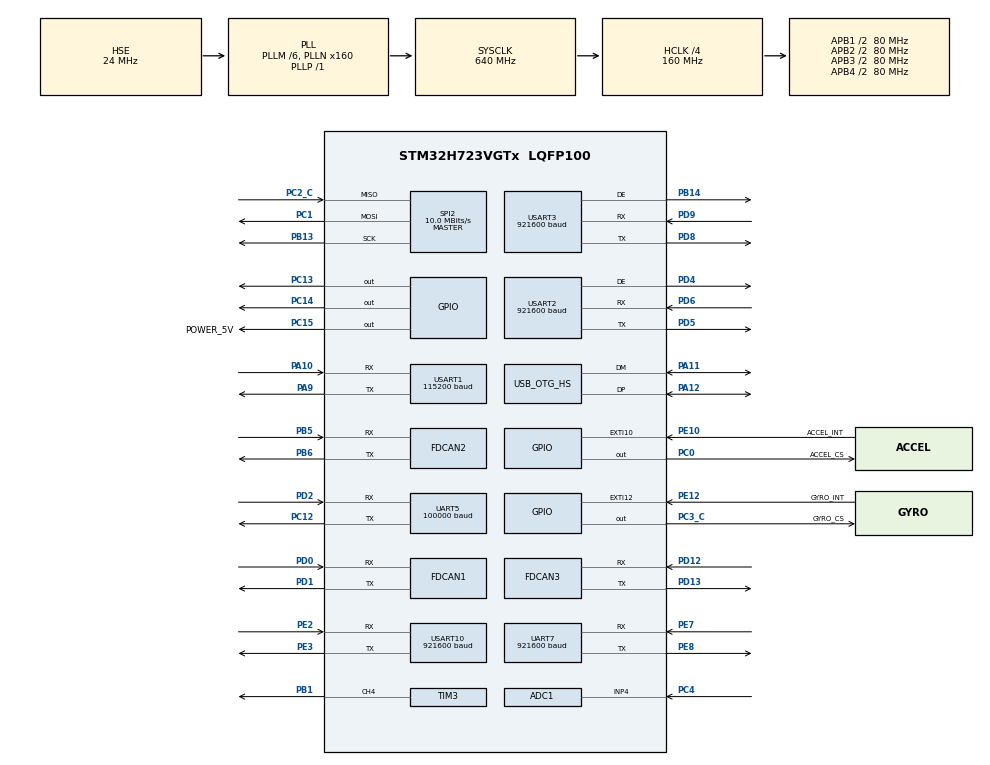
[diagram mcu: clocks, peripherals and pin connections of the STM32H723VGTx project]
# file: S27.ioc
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ADC1.Channel-2\#ChannelRegularConversion=ADC_CHANNEL_4
ADC1.Channel-3\#ChannelRegularConversion=ADC_CHANNEL_4
ADC1.ClockPrescaler=ADC_CLOCK_ASYNC_DIV64
ADC1.ClockPrescalerADC3=ADC_CLOCK_SYNC_PCLK_DIV4
ADC1.ContinuousConvMode=ENABLE
ADC1.ConversionDataManagement=ADC_CONVERSIONDATA_DMA_CIRCULAR
ADC1.NbrOfConversion=2
ADC1.NbrOfConversionFlag=1
ADC1.OffsetNumber-2\#ChannelRegularConversion=ADC_OFFSET_NONE
ADC1.OffsetNumber-3\#ChannelRegularConversion=ADC_OFFSET_NONE
ADC1.OffsetSignedSaturation-2\#ChannelRegularConversion=DISABLE
ADC1.OffsetSignedSaturation-3\#ChannelRegularConversion=DISABLE
ADC1.Rank-2\#ChannelRegularConversion=1
ADC1.Rank-3\#ChannelRegularConversion=2
ADC1.SamplingTime-2\#ChannelRegularConversion=ADC_SAMPLETIME_32CYCLES_5
ADC1.SamplingTime-3\#ChannelRegularConversion=ADC_SAMPLETIME_1CYCLE_5
ADC1.master=1
ADC3.Channel-0\#ChannelRegularConversion=ADC_CHANNEL_TEMPSENSOR
ADC3.ClockPrescalerADC3=ADC_CLOCK_SYNC_PCLK_DIV4
ADC3.DiscontinuousConvMode=ENABLE
ADC3.NbrOfConversionFlag=1
ADC3.OffsetNumber-0\#ChannelRegularConversion=ADC_OFFSET_NONE
ADC3.OffsetSign-0\#ChannelRegularConversion=ADC3_OFFSET_SIGN_NEGATIVE
ADC3.Rank-0\#ChannelRegularConversion=1
ADC3.SamplingTime-0\#ChannelRegularConversion=ADC3_SAMPLETIME_2CYCLES_5
Bdma.ADC3.0.Direction=DMA_PERIPH_TO_MEMORY
Bdma.ADC3.0.EventEnable=DISABLE
Bdma.ADC3.0.Instance=BDMA_Channel0
Bdma.ADC3.0.MemDataAlignment=DMA_MDATAALIGN_HALFWORD
Bdma.ADC3.0.MemInc=DMA_MINC_ENABLE
Bdma.ADC3.0.Mode=DMA_CIRCULAR
Bdma.ADC3.0.PeriphDataAlignment=DMA_PDATAALIGN_HALFWORD
Bdma.ADC3.0.PeriphInc=DMA_PINC_DISABLE
Bdma.ADC3.0.Polarity=HAL_DMAMUX_REQ_GEN_RISING
Bdma.ADC3.0.Priority=DMA_PRIORITY_LOW
Bdma.ADC3.0.RequestNumber=1
Bdma.ADC3.0.SignalID=NONE
Bdma.ADC3.0.SyncEnable=DISABLE
Bdma.ADC3.0.SyncPolarity=HAL_DMAMUX_SYNC_NO_EVENT
Bdma.ADC3.0.SyncRequestNumber=1
Bdma.ADC3.0.SyncSignalID=NONE
Bdma.Request0=ADC3
Bdma.RequestsNb=1
CORTEX_M7.AccessPermission-Cortex_Memory_Protection_Unit_Region0_Settings=MPU_REGION_FULL_ACCESS
CORTEX_M7.AccessPermission_Spec=MPU_REGION_FULL_ACCESS
CORTEX_M7.BaseAddress-Cortex_Memory_Protection_Unit_Region0_Settings=0x24000000
CORTEX_M7.BaseAddress_Spec=0x24000000
CORTEX_M7.CPU_DCache=Enabled
CORTEX_M7.CPU_ICache=Enabled
CORTEX_M7.DisableExec_Spec=MPU_INSTRUCTION_ACCESS_ENABLE
CORTEX_M7.Enable-Cortex_Memory_Protection_Unit_Region0_Settings=MPU_REGION_ENABLE
CORTEX_M7.IsBufferable_Spec=MPU_ACCESS_NOT_BUFFERABLE
CORTEX_M7.IsCacheable_Spec=MPU_ACCESS_NOT_CACHEABLE
CORTEX_M7.IsShareable_Spec=MPU_ACCESS_NOT_SHAREABLE
CORTEX_M7.MPU_Control=MPU_HFNMI_PRIVDEF
CORTEX_M7.Size-Cortex_Memory_Protection_Unit_Region0_Settings=MPU_REGION_SIZE_512KB
CORTEX_M7.Size_Spec=MPU_REGION_SIZE_512KB
CORTEX_M7.SubRegionDisable_Spec=0x0
CORTEX_M7.TypeExtField-Cortex_Memory_Protection_Unit_Region0_Settings=MPU_TEX_LEVEL1
CORTEX_M7.TypeExtField_Spec=MPU_TEX_LEVEL1
CORTEX_M7.default_mode_Activation=1
Dma.ADC1.14.Direction=DMA_PERIPH_TO_MEMORY
Dma.ADC1.14.EventEnable=DISABLE
Dma.ADC1.14.FIFOMode=DMA_FIFOMODE_DISABLE
Dma.ADC1.14.Instance=DMA2_Stream6
Dma.ADC1.14.MemDataAlignment=DMA_MDATAALIGN_HALFWORD
Dma.ADC1.14.MemInc=DMA_MINC_ENABLE
Dma.ADC1.14.Mode=DMA_CIRCULAR
Dma.ADC1.14.PeriphDataAlignment=DMA_PDATAALIGN_HALFWORD
Dma.ADC1.14.PeriphInc=DMA_PINC_DISABLE
Dma.ADC1.14.Polarity=HAL_DMAMUX_REQ_GEN_RISING
Dma.ADC1.14.Priority=DMA_PRIORITY_LOW
Dma.ADC1.14.RequestNumber=1
Dma.ADC1.14.SignalID=NONE
Dma.ADC1.14.SyncEnable=DISABLE
Dma.ADC1.14.SyncPolarity=HAL_DMAMUX_SYNC_NO_EVENT
Dma.ADC1.14.SyncRequestNumber=1
Dma.ADC1.14.SyncSignalID=NONE
Dma.MEMTOMEM.11.Direction=DMA_MEMORY_TO_MEMORY
Dma.MEMTOMEM.11.EventEnable=DISABLE
Dma.MEMTOMEM.11.FIFOMode=DMA_FIFOMODE_ENABLE
Dma.MEMTOMEM.11.FIFOThreshold=DMA_FIFO_THRESHOLD_FULL
Dma.MEMTOMEM.11.Instance=DMA1_Stream0
Dma.MEMTOMEM.11.MemBurst=DMA_MBURST_SINGLE
Dma.MEMTOMEM.11.MemDataAlignment=DMA_MDATAALIGN_BYTE
Dma.MEMTOMEM.11.MemInc=DMA_MINC_ENABLE
Dma.MEMTOMEM.11.Mode=DMA_NORMAL
Dma.MEMTOMEM.11.PeriphBurst=DMA_PBURST_SINGLE
Dma.MEMTOMEM.11.PeriphDataAlignment=DMA_PDATAALIGN_BYTE
Dma.MEMTOMEM.11.PeriphInc=DMA_PINC_ENABLE
Dma.MEMTOMEM.11.Polarity=HAL_DMAMUX_REQ_GEN_RISING
Dma.MEMTOMEM.11.Priority=DMA_PRIORITY_LOW
Dma.MEMTOMEM.11.RequestNumber=1
Dma.MEMTOMEM.11.SignalID=NONE
Dma.MEMTOMEM.11.SyncEnable=DISABLE
Dma.MEMTOMEM.11.SyncPolarity=HAL_DMAMUX_SYNC_NO_EVENT
Dma.MEMTOMEM.11.SyncRequestNumber=1
Dma.MEMTOMEM.11.SyncSignalID=NONE
Dma.Request0=UART5_RX
Dma.Request1=SPI2_RX
Dma.Request10=USART3_TX
Dma.Request11=MEMTOMEM
Dma.Request12=USART10_RX
Dma.Request13=USART10_TX
Dma.Request14=ADC1
Dma.Request2=SPI2_TX
Dma.Request3=UART7_RX
Dma.Request4=UART7_TX
Dma.Request5=USART1_RX
Dma.Request6=USART1_TX
Dma.Request7=USART2_RX
Dma.Request8=USART2_TX
Dma.Request9=USART3_RX
Dma.SPI2_RX.1.Direction=DMA_PERIPH_TO_MEMORY
Dma.SPI2_RX.1.EventEnable=DISABLE
Dma.SPI2_RX.1.FIFOMode=DMA_FIFOMODE_DISABLE
Dma.SPI2_RX.1.Instance=DMA1_Stream1
Dma.SPI2_RX.1.MemDataAlignment=DMA_MDATAALIGN_BYTE
Dma.SPI2_RX.1.MemInc=DMA_MINC_ENABLE
Dma.SPI2_RX.1.Mode=DMA_NORMAL
Dma.SPI2_RX.1.PeriphDataAlignment=DMA_PDATAALIGN_BYTE
Dma.SPI2_RX.1.PeriphInc=DMA_PINC_DISABLE
Dma.SPI2_RX.1.Polarity=HAL_DMAMUX_REQ_GEN_RISING
Dma.SPI2_RX.1.Priority=DMA_PRIORITY_VERY_HIGH
Dma.SPI2_RX.1.RequestNumber=1
Dma.SPI2_RX.1.SignalID=NONE
Dma.SPI2_RX.1.SyncEnable=DISABLE
Dma.SPI2_RX.1.SyncPolarity=HAL_DMAMUX_SYNC_NO_EVENT
Dma.SPI2_RX.1.SyncRequestNumber=1
Dma.SPI2_RX.1.SyncSignalID=NONE
Dma.SPI2_TX.2.Direction=DMA_MEMORY_TO_PERIPH
Dma.SPI2_TX.2.EventEnable=DISABLE
Dma.SPI2_TX.2.FIFOMode=DMA_FIFOMODE_DISABLE
Dma.SPI2_TX.2.Instance=DMA1_Stream2
Dma.SPI2_TX.2.MemDataAlignment=DMA_MDATAALIGN_BYTE
Dma.SPI2_TX.2.MemInc=DMA_MINC_ENABLE
Dma.SPI2_TX.2.Mode=DMA_NORMAL
Dma.SPI2_TX.2.PeriphDataAlignment=DMA_PDATAALIGN_BYTE
Dma.SPI2_TX.2.PeriphInc=DMA_PINC_DISABLE
Dma.SPI2_TX.2.Polarity=HAL_DMAMUX_REQ_GEN_RISING
Dma.SPI2_TX.2.Priority=DMA_PRIORITY_MEDIUM
Dma.SPI2_TX.2.RequestNumber=1
Dma.SPI2_TX.2.SignalID=NONE
Dma.SPI2_TX.2.SyncEnable=DISABLE
Dma.SPI2_TX.2.SyncPolarity=HAL_DMAMUX_SYNC_NO_EVENT
Dma.SPI2_TX.2.SyncRequestNumber=1
Dma.SPI2_TX.2.SyncSignalID=NONE
Dma.UART5_RX.0.Direction=DMA_PERIPH_TO_MEMORY
Dma.UART5_RX.0.EventEnable=DISABLE
Dma.UART5_RX.0.FIFOMode=DMA_FIFOMODE_DISABLE
Dma.UART5_RX.0.Instance=DMA2_Stream3
Dma.UART5_RX.0.MemDataAlignment=DMA_MDATAALIGN_BYTE
Dma.UART5_RX.0.MemInc=DMA_MINC_ENABLE
Dma.UART5_RX.0.Mode=DMA_CIRCULAR
Dma.UART5_RX.0.PeriphDataAlignment=DMA_PDATAALIGN_BYTE
Dma.UART5_RX.0.PeriphInc=DMA_PINC_DISABLE
Dma.UART5_RX.0.Polarity=HAL_DMAMUX_REQ_GEN_RISING
Dma.UART5_RX.0.Priority=DMA_PRIORITY_VERY_HIGH
Dma.UART5_RX.0.RequestNumber=1
Dma.UART5_RX.0.SignalID=NONE
Dma.UART5_RX.0.SyncEnable=DISABLE
Dma.UART5_RX.0.SyncPolarity=HAL_DMAMUX_SYNC_NO_EVENT
Dma.UART5_RX.0.SyncRequestNumber=1
Dma.UART5_RX.0.SyncSignalID=NONE
Dma.UART7_RX.3.Direction=DMA_PERIPH_TO_MEMORY
Dma.UART7_RX.3.EventEnable=DISABLE
Dma.UART7_RX.3.FIFOMode=DMA_FIFOMODE_DISABLE
Dma.UART7_RX.3.Instance=DMA1_Stream3
Dma.UART7_RX.3.MemDataAlignment=DMA_MDATAALIGN_BYTE
Dma.UART7_RX.3.MemInc=DMA_MINC_ENABLE
Dma.UART7_RX.3.Mode=DMA_CIRCULAR
Dma.UART7_RX.3.PeriphDataAlignment=DMA_PDATAALIGN_BYTE
Dma.UART7_RX.3.PeriphInc=DMA_PINC_DISABLE
Dma.UART7_RX.3.Polarity=HAL_DMAMUX_REQ_GEN_RISING
Dma.UART7_RX.3.Priority=DMA_PRIORITY_LOW
Dma.UART7_RX.3.RequestNumber=1
Dma.UART7_RX.3.SignalID=NONE
Dma.UART7_RX.3.SyncEnable=DISABLE
Dma.UART7_RX.3.SyncPolarity=HAL_DMAMUX_SYNC_NO_EVENT
Dma.UART7_RX.3.SyncRequestNumber=1
Dma.UART7_RX.3.SyncSignalID=NONE
Dma.UART7_TX.4.Direction=DMA_MEMORY_TO_PERIPH
Dma.UART7_TX.4.EventEnable=DISABLE
Dma.UART7_TX.4.FIFOMode=DMA_FIFOMODE_DISABLE
Dma.UART7_TX.4.Instance=DMA1_Stream4
Dma.UART7_TX.4.MemDataAlignment=DMA_MDATAALIGN_BYTE
Dma.UART7_TX.4.MemInc=DMA_MINC_ENABLE
Dma.UART7_TX.4.Mode=DMA_NORMAL
Dma.UART7_TX.4.PeriphDataAlignment=DMA_PDATAALIGN_BYTE
Dma.UART7_TX.4.PeriphInc=DMA_PINC_DISABLE
Dma.UART7_TX.4.Polarity=HAL_DMAMUX_REQ_GEN_RISING
Dma.UART7_TX.4.Priority=DMA_PRIORITY_LOW
Dma.UART7_TX.4.RequestNumber=1
Dma.UART7_TX.4.SignalID=NONE
Dma.UART7_TX.4.SyncEnable=DISABLE
Dma.UART7_TX.4.SyncPolarity=HAL_DMAMUX_SYNC_NO_EVENT
Dma.UART7_TX.4.SyncRequestNumber=1
Dma.UART7_TX.4.SyncSignalID=NONE
Dma.USART10_RX.12.Direction=DMA_PERIPH_TO_MEMORY
Dma.USART10_RX.12.EventEnable=DISABLE
Dma.USART10_RX.12.FIFOMode=DMA_FIFOMODE_DISABLE
Dma.USART10_RX.12.Instance=DMA2_Stream4
Dma.USART10_RX.12.MemDataAlignment=DMA_MDATAALIGN_BYTE
Dma.USART10_RX.12.MemInc=DMA_MINC_ENABLE
Dma.USART10_RX.12.Mode=DMA_CIRCULAR
Dma.USART10_RX.12.PeriphDataAlignment=DMA_PDATAALIGN_BYTE
Dma.USART10_RX.12.PeriphInc=DMA_PINC_DISABLE
Dma.USART10_RX.12.Polarity=HAL_DMAMUX_REQ_GEN_RISING
Dma.USART10_RX.12.Priority=DMA_PRIORITY_VERY_HIGH
Dma.USART10_RX.12.RequestNumber=1
Dma.USART10_RX.12.SignalID=NONE
Dma.USART10_RX.12.SyncEnable=DISABLE
Dma.USART10_RX.12.SyncPolarity=HAL_DMAMUX_SYNC_NO_EVENT
Dma.USART10_RX.12.SyncRequestNumber=1
Dma.USART10_RX.12.SyncSignalID=NONE
Dma.USART10_TX.13.Direction=DMA_MEMORY_TO_PERIPH
Dma.USART10_TX.13.EventEnable=DISABLE
Dma.USART10_TX.13.FIFOMode=DMA_FIFOMODE_DISABLE
Dma.USART10_TX.13.Instance=DMA2_Stream5
Dma.USART10_TX.13.MemDataAlignment=DMA_MDATAALIGN_BYTE
Dma.USART10_TX.13.MemInc=DMA_MINC_ENABLE
Dma.USART10_TX.13.Mode=DMA_NORMAL
Dma.USART10_TX.13.PeriphDataAlignment=DMA_PDATAALIGN_BYTE
Dma.USART10_TX.13.PeriphInc=DMA_PINC_DISABLE
Dma.USART10_TX.13.Polarity=HAL_DMAMUX_REQ_GEN_RISING
Dma.USART10_TX.13.Priority=DMA_PRIORITY_VERY_HIGH
Dma.USART10_TX.13.RequestNumber=1
Dma.USART10_TX.13.SignalID=NONE
Dma.USART10_TX.13.SyncEnable=DISABLE
Dma.USART10_TX.13.SyncPolarity=HAL_DMAMUX_SYNC_NO_EVENT
Dma.USART10_TX.13.SyncRequestNumber=1
Dma.USART10_TX.13.SyncSignalID=NONE
Dma.USART1_RX.5.Direction=DMA_PERIPH_TO_MEMORY
Dma.USART1_RX.5.EventEnable=DISABLE
Dma.USART1_RX.5.FIFOMode=DMA_FIFOMODE_DISABLE
Dma.USART1_RX.5.Instance=DMA1_Stream5
Dma.USART1_RX.5.MemDataAlignment=DMA_MDATAALIGN_BYTE
Dma.USART1_RX.5.MemInc=DMA_MINC_ENABLE
Dma.USART1_RX.5.Mode=DMA_NORMAL
Dma.USART1_RX.5.PeriphDataAlignment=DMA_PDATAALIGN_BYTE
Dma.USART1_RX.5.PeriphInc=DMA_PINC_DISABLE
Dma.USART1_RX.5.Polarity=HAL_DMAMUX_REQ_GEN_RISING
Dma.USART1_RX.5.Priority=DMA_PRIORITY_VERY_HIGH
Dma.USART1_RX.5.RequestNumber=1
Dma.USART1_RX.5.SignalID=NONE
Dma.USART1_RX.5.SyncEnable=DISABLE
Dma.USART1_RX.5.SyncPolarity=HAL_DMAMUX_SYNC_NO_EVENT
Dma.USART1_RX.5.SyncRequestNumber=1
Dma.USART1_RX.5.SyncSignalID=NONE
Dma.USART1_TX.6.Direction=DMA_MEMORY_TO_PERIPH
Dma.USART1_TX.6.EventEnable=DISABLE
Dma.USART1_TX.6.FIFOMode=DMA_FIFOMODE_DISABLE
Dma.USART1_TX.6.Instance=DMA1_Stream6
Dma.USART1_TX.6.MemDataAlignment=DMA_MDATAALIGN_BYTE
Dma.USART1_TX.6.MemInc=DMA_MINC_ENABLE
Dma.USART1_TX.6.Mode=DMA_NORMAL
Dma.USART1_TX.6.PeriphDataAlignment=DMA_PDATAALIGN_BYTE
Dma.USART1_TX.6.PeriphInc=DMA_PINC_DISABLE
Dma.USART1_TX.6.Polarity=HAL_DMAMUX_REQ_GEN_RISING
Dma.USART1_TX.6.Priority=DMA_PRIORITY_VERY_HIGH
Dma.USART1_TX.6.RequestNumber=1
Dma.USART1_TX.6.SignalID=NONE
Dma.USART1_TX.6.SyncEnable=DISABLE
Dma.USART1_TX.6.SyncPolarity=HAL_DMAMUX_SYNC_NO_EVENT
Dma.USART1_TX.6.SyncRequestNumber=1
Dma.USART1_TX.6.SyncSignalID=NONE
Dma.USART2_RX.7.Direction=DMA_PERIPH_TO_MEMORY
Dma.USART2_RX.7.EventEnable=DISABLE
Dma.USART2_RX.7.FIFOMode=DMA_FIFOMODE_DISABLE
Dma.USART2_RX.7.Instance=DMA1_Stream7
Dma.USART2_RX.7.MemDataAlignment=DMA_MDATAALIGN_BYTE
Dma.USART2_RX.7.MemInc=DMA_MINC_ENABLE
Dma.USART2_RX.7.Mode=DMA_CIRCULAR
Dma.USART2_RX.7.PeriphDataAlignment=DMA_PDATAALIGN_BYTE
Dma.USART2_RX.7.PeriphInc=DMA_PINC_DISABLE
Dma.USART2_RX.7.Polarity=HAL_DMAMUX_REQ_GEN_RISING
Dma.USART2_RX.7.Priority=DMA_PRIORITY_MEDIUM
Dma.USART2_RX.7.RequestNumber=1
Dma.USART2_RX.7.SignalID=NONE
Dma.USART2_RX.7.SyncEnable=DISABLE
Dma.USART2_RX.7.SyncPolarity=HAL_DMAMUX_SYNC_NO_EVENT
Dma.USART2_RX.7.SyncRequestNumber=1
Dma.USART2_RX.7.SyncSignalID=NONE
Dma.USART2_TX.8.Direction=DMA_MEMORY_TO_PERIPH
Dma.USART2_TX.8.EventEnable=DISABLE
Dma.USART2_TX.8.FIFOMode=DMA_FIFOMODE_DISABLE
Dma.USART2_TX.8.Instance=DMA2_Stream0
Dma.USART2_TX.8.MemDataAlignment=DMA_MDATAALIGN_BYTE
Dma.USART2_TX.8.MemInc=DMA_MINC_ENABLE
Dma.USART2_TX.8.Mode=DMA_NORMAL
Dma.USART2_TX.8.PeriphDataAlignment=DMA_PDATAALIGN_BYTE
Dma.USART2_TX.8.PeriphInc=DMA_PINC_DISABLE
Dma.USART2_TX.8.Polarity=HAL_DMAMUX_REQ_GEN_RISING
Dma.USART2_TX.8.Priority=DMA_PRIORITY_MEDIUM
Dma.USART2_TX.8.RequestNumber=1
Dma.USART2_TX.8.SignalID=NONE
Dma.USART2_TX.8.SyncEnable=DISABLE
Dma.USART2_TX.8.SyncPolarity=HAL_DMAMUX_SYNC_NO_EVENT
Dma.USART2_TX.8.SyncRequestNumber=1
Dma.USART2_TX.8.SyncSignalID=NONE
Dma.USART3_RX.9.Direction=DMA_PERIPH_TO_MEMORY
Dma.USART3_RX.9.EventEnable=DISABLE
Dma.USART3_RX.9.FIFOMode=DMA_FIFOMODE_DISABLE
Dma.USART3_RX.9.Instance=DMA2_Stream1
Dma.USART3_RX.9.MemDataAlignment=DMA_MDATAALIGN_BYTE
Dma.USART3_RX.9.MemInc=DMA_MINC_ENABLE
Dma.USART3_RX.9.Mode=DMA_CIRCULAR
Dma.USART3_RX.9.PeriphDataAlignment=DMA_PDATAALIGN_BYTE
Dma.USART3_RX.9.PeriphInc=DMA_PINC_DISABLE
Dma.USART3_RX.9.Polarity=HAL_DMAMUX_REQ_GEN_RISING
Dma.USART3_RX.9.Priority=DMA_PRIORITY_MEDIUM
Dma.USART3_RX.9.RequestNumber=1
Dma.USART3_RX.9.SignalID=NONE
Dma.USART3_RX.9.SyncEnable=DISABLE
Dma.USART3_RX.9.SyncPolarity=HAL_DMAMUX_SYNC_NO_EVENT
Dma.USART3_RX.9.SyncRequestNumber=1
Dma.USART3_RX.9.SyncSignalID=NONE
Dma.USART3_TX.10.Direction=DMA_MEMORY_TO_PERIPH
Dma.USART3_TX.10.EventEnable=DISABLE
Dma.USART3_TX.10.FIFOMode=DMA_FIFOMODE_DISABLE
Dma.USART3_TX.10.Instance=DMA2_Stream2
Dma.USART3_TX.10.MemDataAlignment=DMA_MDATAALIGN_BYTE
Dma.USART3_TX.10.MemInc=DMA_MINC_ENABLE
Dma.USART3_TX.10.Mode=DMA_NORMAL
Dma.USART3_TX.10.PeriphDataAlignment=DMA_PDATAALIGN_BYTE
Dma.USART3_TX.10.PeriphInc=DMA_PINC_DISABLE
Dma.USART3_TX.10.Polarity=HAL_DMAMUX_REQ_GEN_RISING
Dma.USART3_TX.10.Priority=DMA_PRIORITY_MEDIUM
Dma.USART3_TX.10.RequestNumber=1
Dma.USART3_TX.10.SignalID=NONE
Dma.USART3_TX.10.SyncEnable=DISABLE
Dma.USART3_TX.10.SyncPolarity=HAL_DMAMUX_SYNC_NO_EVENT
Dma.USART3_TX.10.SyncRequestNumber=1
Dma.USART3_TX.10.SyncSignalID=NONE
FDCAN1.AutoRetransmission=DISABLE
FDCAN1.CalculateBaudRateNominal=1000000
FDCAN1.CalculateTimeBitNominal=1000
FDCAN1.CalculateTimeQuantumNominal=50.0
FDCAN1.ClockCalibrationCCU=DISABLE
FDCAN1.DataPrescaler=5
FDCAN1.DataSyncJumpWidth=5
FDCAN1.DataTimeSeg1=14
FDCAN1.DataTimeSeg2=5
FDCAN1.ExtFiltersNbr=0
FDCAN1.FrameFormat=FDCAN_FRAME_CLASSIC
FDCAN1.NominalPrescaler=5
FDCAN1.NominalSyncJumpWidth=5
FDCAN1.NominalTimeSeg1=14
FDCAN1.NominalTimeSeg2=5
FDCAN1.ProtocolException=ENABLE
FDCAN1.RxBufferSize=FDCAN_DATA_BYTES_8
FDCAN1.RxFifo0ElmtSize=FDCAN_DATA_BYTES_8
FDCAN1.RxFifo0ElmtsNbr=8
FDCAN1.RxFifo1ElmtSize=FDCAN_DATA_BYTES_8
FDCAN1.StdFiltersNbr=1
FDCAN1.TransmitPause=DISABLE
FDCAN1.TxElmtSize=FDCAN_DATA_BYTES_8
FDCAN1.TxFifoQueueElmtsNbr=8
FDCAN1.TxFifoQueueMode=FDCAN_TX_FIFO_OPERATION
FDCAN2.CalculateBaudRateNominal=1000000
FDCAN2.CalculateTimeBitNominal=1000
FDCAN2.CalculateTimeQuantumNominal=50.0
FDCAN2.DataPrescaler=1
FDCAN2.DataSyncJumpWidth=5
FDCAN2.DataTimeSeg1=14
FDCAN2.DataTimeSeg2=5
FDCAN2.FrameFormat=FDCAN_FRAME_FD_BRS
FDCAN2.MessageRAMOffset=853
FDCAN2.NominalPrescaler=5
FDCAN2.NominalSyncJumpWidth=5
FDCAN2.NominalTimeSeg1=14
FDCAN2.NominalTimeSeg2=5
FDCAN2.ProtocolException=ENABLE
FDCAN2.RxFifo0ElmtsNbr=0
FDCAN2.RxFifo1ElmtsNbr=8
FDCAN2.StdFiltersNbr=1
FDCAN2.TxFifoQueueElmtsNbr=8
FDCAN3.CalculateBaudRateNominal=1000000
FDCAN3.CalculateTimeBitNominal=1000
FDCAN3.CalculateTimeQuantumNominal=50.0
FDCAN3.DataPrescaler=5
FDCAN3.DataSyncJumpWidth=5
FDCAN3.DataTimeSeg1=14
FDCAN3.DataTimeSeg2=5
FDCAN3.FrameFormat=FDCAN_FRAME_CLASSIC
FDCAN3.MessageRAMOffset=1706
FDCAN3.NominalPrescaler=5
FDCAN3.NominalSyncJumpWidth=5
FDCAN3.NominalTimeSeg1=14
FDCAN3.NominalTimeSeg2=5
FDCAN3.ProtocolException=ENABLE
FDCAN3.RxFifo0ElmtsNbr=8
FDCAN3.StdFiltersNbr=1
FDCAN3.TxFifoQueueElmtsNbr=8
FREERTOS.INCLUDE_vTaskDelayUntil=1
FREERTOS.Tasks01=Start_INS_Task,2,2048,INS_Task,As weak,NULL,Static,Start_INS_TaskBuffer,Start_INS_TaskControlBlock;Start_Control_Task,1,2048,Control_Task,As weak,NULL,Static,Start_Control_TaskBuffer,Start_Control_TaskControlBlock;Start_CAN_Task,0,2048,CAN_Task,As weak,NULL,Static,Start_CAN_TaskBuffer,Start_CAN_TaskControlBlock;Start_Detect_Task,-1,2048,Detect_Task,As weak,NULL,Static,Start_Detect_TaskBuffer,Start_Detect_TaskControlBlock
FREERTOS.configMAX_TASK_NAME_LEN=64
FREERTOS.configMINIMAL_STACK_SIZE=2048
FREERTOS.configQUEUE_REGISTRY_SIZE=8
FREERTOS.configUSE_TRACE_FACILITY=1
Mcu.Family=STM32H7
Mcu.Name=STM32H723VGTx
Mcu.Package=LQFP100
NVIC.BDMA_Channel0_IRQn=true\:5\:0\:false\:false\:true\:true\:false\:true\:true
NVIC.DMA1_Stream0_IRQn=true\:5\:0\:false\:false\:true\:true\:false\:true\:true
NVIC.DMA1_Stream1_IRQn=true\:5\:0\:false\:false\:true\:true\:false\:true\:true
NVIC.DMA1_Stream2_IRQn=true\:5\:0\:false\:false\:true\:true\:false\:true\:true
NVIC.DMA1_Stream3_IRQn=true\:5\:0\:false\:false\:true\:true\:false\:true\:true
NVIC.DMA1_Stream4_IRQn=true\:5\:0\:false\:false\:true\:true\:false\:true\:true
NVIC.DMA1_Stream5_IRQn=true\:5\:0\:false\:false\:true\:true\:false\:true\:true
NVIC.DMA1_Stream6_IRQn=true\:5\:0\:false\:false\:true\:true\:false\:true\:true
NVIC.DMA1_Stream7_IRQn=true\:5\:0\:false\:false\:true\:true\:false\:true\:true
NVIC.DMA2_Stream0_IRQn=true\:5\:0\:false\:false\:true\:true\:false\:true\:true
NVIC.DMA2_Stream1_IRQn=true\:5\:0\:false\:false\:true\:true\:false\:true\:true
NVIC.DMA2_Stream2_IRQn=true\:5\:0\:false\:false\:true\:true\:false\:true\:true
NVIC.DMA2_Stream3_IRQn=true\:5\:0\:false\:false\:true\:true\:false\:true\:true
NVIC.DMA2_Stream4_IRQn=true\:5\:0\:false\:false\:true\:true\:false\:true\:true
NVIC.DMA2_Stream5_IRQn=true\:5\:0\:false\:false\:true\:true\:false\:true\:true
NVIC.DMA2_Stream6_IRQn=true\:5\:0\:false\:false\:true\:true\:false\:true\:true
NVIC.FDCAN1_IT0_IRQn=true\:5\:0\:false\:false\:true\:true\:true\:true\:true
NVIC.FDCAN1_IT1_IRQn=true\:5\:0\:false\:false\:true\:true\:true\:true\:true
NVIC.FDCAN2_IT0_IRQn=true\:5\:0\:false\:false\:true\:true\:true\:true\:true
NVIC.FDCAN2_IT1_IRQn=true\:5\:0\:false\:false\:true\:true\:true\:true\:true
NVIC.FDCAN3_IT0_IRQn=true\:5\:0\:false\:false\:true\:true\:true\:true\:true
NVIC.FDCAN3_IT1_IRQn=true\:5\:0\:false\:false\:true\:true\:true\:true\:true
NVIC.OTG_HS_IRQn=true\:5\:0\:false\:false\:true\:true\:true\:true\:true
NVIC.PriorityGroup=NVIC_PRIORITYGROUP_4
NVIC.SPI2_IRQn=true\:5\:0\:true\:false\:true\:true\:false\:true\:true
NVIC.TIM2_IRQn=true\:15\:0\:false\:false\:true\:false\:false\:true\:true
NVIC.TimeBase=TIM2_IRQn
NVIC.TimeBaseIP=TIM2
NVIC.UART5_IRQn=true\:5\:0\:false\:false\:true\:true\:true\:true\:true
NVIC.UART7_IRQn=true\:5\:0\:false\:false\:true\:true\:true\:true\:true
NVIC.USART10_IRQn=true\:5\:0\:false\:false\:true\:true\:true\:true\:true
NVIC.USART1_IRQn=true\:5\:0\:false\:false\:true\:true\:true\:true\:true
NVIC.USART2_IRQn=true\:5\:0\:false\:false\:true\:true\:true\:true\:true
NVIC.USART3_IRQn=true\:5\:0\:false\:false\:true\:true\:true\:true\:true
PA10.Mode=Asynchronous
PA10.Signal=USART1_RX
PA11.Mode=Device_Only_FS
PA11.Signal=USB_OTG_HS_DM
PA12.Mode=Device_Only_FS
PA12.Signal=USB_OTG_HS_DP
PA13(JTMS/SWDIO).Mode=Serial_Wire
PA13(JTMS/SWDIO).Signal=DEBUG_JTMS-SWDIO
PA14(JTCK/SWCLK).Mode=Serial_Wire
PA14(JTCK/SWCLK).Signal=DEBUG_JTCK-SWCLK
PA9.Mode=Asynchronous
PA9.Signal=USART1_TX
PB1.Signal=S_TIM3_CH4
PB13.GPIO_Speed=GPIO_SPEED_FREQ_VERY_HIGH
PB13.Mode=Full_Duplex_Master
PB13.Signal=SPI2_SCK
PB14.Mode=Hardware Flow Control (RS485)
PB14.Signal=USART3_DE
PB5.Mode=FDCAN_Activate
PB5.Signal=FDCAN2_RX
PB6.GPIO_FM6=__NULL
PB6.Mode=FDCAN_Activate
PB6.Signal=FDCAN2_TX
PC0.GPIO_Label=ACCEL_CS
PC0.GPIO_PuPd=GPIO_NOPULL
PC0.GPIO_Speed=GPIO_SPEED_FREQ_MEDIUM
PC0.PinState=GPIO_PIN_SET
PC0.Signal=GPIO_Output
PC1.GPIO_Speed=GPIO_SPEED_FREQ_VERY_HIGH
PC1.Mode=Full_Duplex_Master
PC1.Signal=SPI2_MOSI
PC12.Mode=Asynchronous
PC12.Signal=UART5_TX
PC13.PinState=GPIO_PIN_RESET
PC13.Signal=GPIO_Output
PC14-OSC32_IN.Signal=GPIO_Output
PC15-OSC32_OUT.GPIO_Label=POWER_5V
PC15-OSC32_OUT.PinState=GPIO_PIN_SET
PC15-OSC32_OUT.Signal=GPIO_Output
PC2_C.GPIO_Speed=GPIO_SPEED_FREQ_VERY_HIGH
PC2_C.Mode=Full_Duplex_Master
PC2_C.Signal=SPI2_MISO
PC3_C.GPIO_Label=GYRO_CS
PC3_C.GPIO_PuPd=GPIO_NOPULL
PC3_C.GPIO_Speed=GPIO_SPEED_FREQ_MEDIUM
PC3_C.PinState=GPIO_PIN_SET
PC3_C.Signal=GPIO_Output
PC4.Signal=ADCx_INP4
PD0.Mode=FDCAN_Activate
PD0.Signal=FDCAN1_RX
PD1.Mode=FDCAN_Activate
PD1.Signal=FDCAN1_TX
PD12.Mode=FDCAN_Activate
PD12.Signal=FDCAN3_RX
PD13.Mode=FDCAN_Activate
PD13.Signal=FDCAN3_TX
PD2.GPIO_Speed=GPIO_SPEED_FREQ_VERY_HIGH
PD2.Mode=Asynchronous
PD2.Signal=UART5_RX
PD4.Mode=Hardware Flow Control (RS485)
PD4.Signal=USART2_DE
PD5.Mode=Asynchronous
PD5.Signal=USART2_TX
PD6.Mode=Asynchronous
PD6.Signal=USART2_RX
PD8.Mode=Asynchronous
PD8.Signal=USART3_TX
PD9.Mode=Asynchronous
PD9.Signal=USART3_RX
PE10.GPIO_Label=ACCEL_INT
PE10.GPIO_PuPd=GPIO_NOPULL
PE10.Signal=GPXTI10
PE12.GPIO_Label=GYRO_INT
PE12.GPIO_PuPd=GPIO_NOPULL
PE12.Signal=GPXTI12
PE2.Mode=Asynchronous
PE2.Signal=USART10_RX
PE3.Mode=Asynchronous
PE3.Signal=USART10_TX
PE7.Mode=Asynchronous
PE7.Signal=UART7_RX
PE8.Mode=Asynchronous
PE8.Signal=UART7_TX
PH0-OSC_IN.Mode=HSE-External-Oscillator
PH0-OSC_IN.Signal=RCC_OSC_IN
PH1-OSC_OUT.Mode=HSE-External-Oscillator
PH1-OSC_OUT.Signal=RCC_OSC_OUT
ProjectManager.HeapSize=0x2000
ProjectManager.StackSize=0x4000
ProjectManager.TargetToolchain=MDK-ARM V5.32
RCC.ADCCLockSelection=RCC_ADCCLKSOURCE_CLKP
RCC.ADCFreq_Value=64000000
RCC.APB1Freq_Value=80000000
RCC.APB2Freq_Value=80000000
RCC.APB3Freq_Value=80000000
RCC.APB4Freq_Value=80000000
RCC.CortexFreq_Value=640000000
RCC.D1PPRE=RCC_APB3_DIV2
RCC.D2PPRE1=RCC_APB1_DIV2
RCC.D2PPRE2=RCC_APB2_DIV2
RCC.D3PPRE=RCC_APB4_DIV2
RCC.DIVM1=6
RCC.DIVM2=24
RCC.DIVM3=24
RCC.DIVN1=160
RCC.DIVN2=200
RCC.DIVN3=160
RCC.DIVP1=1
RCC.DIVQ1=4
RCC.EnbaleCSS=false
RCC.FDCANCLockSelection=RCC_FDCANCLKSOURCE_PLL2
RCC.FLatency-AdvancedSettings=FLASH_LATENCY_2
RCC.HCLKFreq_Value=160000000
RCC.HPRE=RCC_HCLK_DIV4
RCC.HSE_VALUE=24000000
RCC.PLL1_VCI_Range-AdvancedSettings=RCC_PLL1VCIRANGE_0
RCC.PLL1_VCO_SEL-AdvancedSettings=RCC_PLL1VCOMEDIUM
RCC.PLL2FRACN=0
RCC.PLL2_VCO_SEL-AdvancedSettings=RCC_PLL2VCOWIDE
RCC.PLL3FRACN=0
RCC.PLL3_VCO_SEL-AdvancedSettings=RCC_PLL3VCOWIDE
RCC.PLLFRACN=0
RCC.PLLSourceVirtual=RCC_PLLSOURCE_HSE
RCC.SPI123CLockSelection=RCC_SPI123CLKSOURCE_PLL3
RCC.SYSCLKFreq_VALUE=640000000
RCC.SYSCLKSource=RCC_SYSCLKSOURCE_PLLCLK
RCC.USART16CLockSelection=RCC_USART16910CLKSOURCE_PLL2
RCC.USBCLockSelection=RCC_USBCLKSOURCE_HSI48
RCC.USBFreq_Value=48000000
SH.ADCx_INP4.0=ADC1_INP4,IN4-Single-Ended
SH.S_TIM3_CH4.0=TIM3_CH4,PWM Generation4 CH4
SPI2.BaudRatePrescaler=SPI_BAUDRATEPRESCALER_8
SPI2.CLKPhase=SPI_PHASE_2EDGE
SPI2.CLKPolarity=SPI_POLARITY_HIGH
SPI2.CalculateBaudRate=10.0 MBits/s
SPI2.DataSize=SPI_DATASIZE_8BIT
SPI2.Direction=SPI_DIRECTION_2LINES
SPI2.Mode=SPI_MODE_MASTER
SPI2.NSSPMode=SPI_NSS_PULSE_DISABLE
SPI2.VirtualType=VM_MASTER
STMicroelectronics.X-CUBE-ALGOBUILD.1.4.0.LibraryCcDSPOoLibraryJjDSPOoLibrary=true
TIM3.AutoReloadPreload=TIM_AUTORELOAD_PRELOAD_ENABLE
TIM3.Channel-PWM\ Generation4\ CH4=TIM_CHANNEL_4
TIM3.Period=20000
TIM3.Prescaler=80-1
UART5.BaudRate=100000
UART5.Parity=PARITY_EVEN
UART5.StopBits=UART_STOPBITS_2
UART5.WordLength=WORDLENGTH_9B
UART7.BaudRate=921600
USART1.BaudRate=115200
USART1.VirtualMode-Asynchronous=VM_ASYNC
USART10.BaudRate=921600
USART10.VirtualMode=VM_ASYNC
USART2.BaudRate=921600
USART2.OverSampling=UART_OVERSAMPLING_8
USART2.VirtualMode-Asynchronous=VM_ASYNC
USART2.VirtualMode-Hardware\ Flow\ Control\ (RS485)=VM_ASYNC
USART3.BaudRate=921600
USART3.OverSampling=UART_OVERSAMPLING_8
USART3.VirtualMode-Asynchronous=VM_ASYNC
USART3.VirtualMode-Hardware\ Flow\ Control\ (RS485)=VM_ASYNC
USB_DEVICE.CLASS_NAME_HS=CDC
USB_DEVICE.VirtualMode=Cdc
USB_DEVICE.VirtualModeHS=Cdc_HS
USB_OTG_HS.VirtualMode-Device_Only_FS=Device_Only_FS
VP_ADC3_TempSens_Input.Mode=IN-TempSens
VP_ADC3_Vbat_Input.Mode=IN-Vbat
VP_ADC3_Vref_Input.Mode=IN-Vrefint
VP_FREERTOS_VS_CMSIS_V1.Mode=CMSIS_V1
VP_MEMORYMAP_VS_MEMORYMAP.Mode=CurAppReg
VP_STMicroelectronics.X-CUBE-ALGOBUILD_VS_DSPOoLibraryJjLibrary_1.4.0_1.4.0.Mode=DSPOoLibraryJjLibrary
VP_SYS_VS_tim2.Mode=TIM2
VP_USB_DEVICE_VS_USB_DEVICE_CDC_HS.Mode=CDC_HS
board=custom

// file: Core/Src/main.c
/* USER CODE BEGIN Header */
/**
  ******************************************************************************
  * @file           : main.c
  * @brief          : Main program body
  ******************************************************************************
  * @attention
  *
  * Copyright (c) 2024 STMicroelectronics.
  * All rights reserved.
  *
  * This software is licensed under terms that can be found in the LICENSE file
  * in the root directory of this software component.
  * If no LICENSE file comes with this software, it is provided AS-IS.
  *
  ******************************************************************************
  */
/* USER CODE END Header */
#include "main.h"
#include "cmsis_os.h"
#include "adc.h"
#include "bdma.h"
#include "dma.h"
#include "fdcan.h"
#include "memorymap.h"
#include "spi.h"
#include "tim.h"
#include "usart.h"
#include "usb_device.h"
#include "gpio.h"

/* USER CODE BEGIN Includes */
#include "bsp_mcu.h"

#include "SEGGER_SYSVIEW.h"
#include "multi_turn_store.h"
/* USER CODE END Includes */

void SystemClock_Config(void);
void PeriphCommonClock_Config(void);
static void MPU_Config(void);
void MX_FREERTOS_Init(void);

int main(void)
{

  /* USER CODE BEGIN 1 */
  /* MPU Region 1: power-loss log 0x080C0000, 256 KiB, not cacheable. Set
     before MPU_Config() enables the MPU and before the D-Cache is on;
     kept in a USER CODE block so CubeMX regeneration does not drop it. */
  MT_Store_MPU_Config();
  /* USER CODE END 1 */

  /* MPU Configuration--------------------------------------------------------*/
  MPU_Config();

  /* Enable the CPU Cache */

  /* Enable I-Cache---------------------------------------------------------*/
  SCB_EnableICache();

  /* Enable D-Cache---------------------------------------------------------*/
  SCB_EnableDCache();

  /* MCU Configuration--------------------------------------------------------*/

  /* Reset of all peripherals, Initializes the Flash interface and the Systick. */
  HAL_Init();

  /* Configure the system clock */
  SystemClock_Config();

  /* Configure the peripherals common clocks */
  PeriphCommonClock_Config();

  /* Initialize all configured peripherals */
  MX_GPIO_Init();
  MX_DMA_Init();
  MX_BDMA_Init();
  MX_FDCAN1_Init();
  MX_FDCAN2_Init();
  MX_UART5_Init();
  MX_SPI2_Init();
  MX_TIM3_Init();
  MX_UART7_Init();
  MX_USART1_UART_Init();
  MX_USART2_UART_Init();
  MX_USART3_UART_Init();
  MX_USART10_UART_Init();
  MX_FDCAN3_Init();
  MX_ADC3_Init();
  MX_ADC1_Init();
  /* USER CODE BEGIN 2 */
  MCU_Init();

	SEGGER_SYSVIEW_Conf();

  /* USER CODE END 2 */

  /* Call init function for freertos objects (in cmsis_os2.c) */
  MX_FREERTOS_Init();

  /* Start scheduler */
  osKernelStart();

  /* We should never get here as control is now taken by the scheduler */

  /* Infinite loop */
  while (1)
  {

  }
}

void SystemClock_Config(void)
{
  RCC_OscInitTypeDef RCC_OscInitStruct = {0};
  RCC_ClkInitTypeDef RCC_ClkInitStruct = {0};

  /** Supply configuration update enable
  */
  HAL_PWREx_ConfigSupply(PWR_LDO_SUPPLY);

  /** Configure the main internal regulator output voltage
  */
  __HAL_PWR_VOLTAGESCALING_CONFIG(PWR_REGULATOR_VOLTAGE_SCALE1);

  while(!__HAL_PWR_GET_FLAG(PWR_FLAG_VOSRDY)) {}

  /** Initializes the RCC Oscillators according to the specified parameters
  * in the RCC_OscInitTypeDef structure.
  */
  RCC_OscInitStruct.OscillatorType = RCC_OSCILLATORTYPE_HSI48|RCC_OSCILLATORTYPE_HSI
                              |RCC_OSCILLATORTYPE_HSE;
  RCC_OscInitStruct.HSEState = RCC_HSE_ON;
  RCC_OscInitStruct.HSIState = RCC_HSI_DIV1;
  RCC_OscInitStruct.HSICalibrationValue = 64;
  RCC_OscInitStruct.HSI48State = RCC_HSI48_ON;
  RCC_OscInitStruct.PLL.PLLState = RCC_PLL_ON;
  RCC_OscInitStruct.PLL.PLLSource = RCC_PLLSOURCE_HSE;
  RCC_OscInitStruct.PLL.PLLM = 6;
  RCC_OscInitStruct.PLL.PLLN = 160;
  RCC_OscInitStruct.PLL.PLLP = 1;
  RCC_OscInitStruct.PLL.PLLQ = 4;
  RCC_OscInitStruct.PLL.PLLR = 2;
  RCC_OscInitStruct.PLL.PLLRGE = RCC_PLL1VCIRANGE_2;
  RCC_OscInitStruct.PLL.PLLVCOSEL = RCC_PLL1VCOWIDE;
  RCC_OscInitStruct.PLL.PLLFRACN = 0;
  if (HAL_RCC_OscConfig(&RCC_OscInitStruct) != HAL_OK)
  {
    Error_Handler();
  }

  /** Initializes the CPU, AHB and APB buses clocks
  */
  RCC_ClkInitStruct.ClockType = RCC_CLOCKTYPE_HCLK|RCC_CLOCKTYPE_SYSCLK
                              |RCC_CLOCKTYPE_PCLK1|RCC_CLOCKTYPE_PCLK2
                              |RCC_CLOCKTYPE_D3PCLK1|RCC_CLOCKTYPE_D1PCLK1;
  RCC_ClkInitStruct.SYSCLKSource = RCC_SYSCLKSOURCE_PLLCLK;
  RCC_ClkInitStruct.SYSCLKDivider = RCC_SYSCLK_DIV1;
  RCC_ClkInitStruct.AHBCLKDivider = RCC_HCLK_DIV4;
  RCC_ClkInitStruct.APB3CLKDivider = RCC_APB3_DIV2;
  RCC_ClkInitStruct.APB1CLKDivider = RCC_APB1_DIV2;
  RCC_ClkInitStruct.APB2CLKDivider = RCC_APB2_DIV2;
  RCC_ClkInitStruct.APB4CLKDivider = RCC_APB4_DIV2;

  if (HAL_RCC_ClockConfig(&RCC_ClkInitStruct, FLASH_LATENCY_2) != HAL_OK)
  {
    Error_Handler();
  }
}

void PeriphCommonClock_Config(void)
{
  RCC_PeriphCLKInitTypeDef PeriphClkInitStruct = {0};

  /** Initializes the peripherals clock
  */
  PeriphClkInitStruct.PeriphClockSelection = RCC_PERIPHCLK_FDCAN|RCC_PERIPHCLK_USART1
                              |RCC_PERIPHCLK_USART10|RCC_PERIPHCLK_CKPER;
  PeriphClkInitStruct.PLL2.PLL2M = 24;
  PeriphClkInitStruct.PLL2.PLL2N = 200;
  PeriphClkInitStruct.PLL2.PLL2P = 2;
  PeriphClkInitStruct.PLL2.PLL2Q = 2;
  PeriphClkInitStruct.PLL2.PLL2R = 2;
  PeriphClkInitStruct.PLL2.PLL2RGE = RCC_PLL2VCIRANGE_0;
  PeriphClkInitStruct.PLL2.PLL2VCOSEL = RCC_PLL2VCOMEDIUM;
  PeriphClkInitStruct.PLL2.PLL2FRACN = 0;
  PeriphClkInitStruct.CkperClockSelection = RCC_CLKPSOURCE_HSI;
  PeriphClkInitStruct.FdcanClockSelection = RCC_FDCANCLKSOURCE_PLL2;
  PeriphClkInitStruct.Usart16ClockSelection = RCC_USART16910CLKSOURCE_PLL2;
  if (HAL_RCCEx_PeriphCLKConfig(&PeriphClkInitStruct) != HAL_OK)
  {
    Error_Handler();
  }
}

 /* MPU Configuration */

void MPU_Config(void)
{
  MPU_Region_InitTypeDef MPU_InitStruct = {0};

  /* Disables the MPU */
  HAL_MPU_Disable();

  /** Initializes and configures the Region and the memory to be protected
  */
  MPU_InitStruct.Enable = MPU_REGION_ENABLE;
  MPU_InitStruct.Number = MPU_REGION_NUMBER0;
  MPU_InitStruct.BaseAddress = 0x24000000;
  MPU_InitStruct.Size = MPU_REGION_SIZE_512KB;
  MPU_InitStruct.SubRegionDisable = 0x0;
  MPU_InitStruct.TypeExtField = MPU_TEX_LEVEL1;
  MPU_InitStruct.AccessPermission = MPU_REGION_FULL_ACCESS;
  MPU_InitStruct.DisableExec = MPU_INSTRUCTION_ACCESS_ENABLE;
  MPU_InitStruct.IsShareable = MPU_ACCESS_NOT_SHAREABLE;
  MPU_InitStruct.IsCacheable = MPU_ACCESS_NOT_CACHEABLE;
  MPU_InitStruct.IsBufferable = MPU_ACCESS_NOT_BUFFERABLE;

  HAL_MPU_ConfigRegion(&MPU_InitStruct);
  /* Enables the MPU */
  HAL_MPU_Enable(MPU_HFNMI_PRIVDEF);

}

void HAL_TIM_PeriodElapsedCallback(TIM_HandleTypeDef *htim)
{
  if (htim->Instance == TIM2) {
    HAL_IncTick();
  }
}

void Error_Handler(void)
{
  __disable_irq();
  while (1)
  {
  }
}

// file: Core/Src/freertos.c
/* USER CODE BEGIN Header */
/**
  ******************************************************************************
  * File Name          : freertos.c
  * Description        : Code for freertos applications
  ******************************************************************************
  * @attention
  *
  * Copyright (c) 2024 STMicroelectronics.
  * All rights reserved.
  *
  * This software is licensed under terms that can be found in the LICENSE file
  * in the root directory of this software component.
  * If no LICENSE file comes with this software, it is provided AS-IS.
  *
  ******************************************************************************
  */
/* USER CODE END Header */

#include "FreeRTOS.h"
#include "task.h"
#include "main.h"
#include "cmsis_os.h"

/* USER CODE BEGIN Includes */
#include "SEGGER_SYSVIEW_FreeRTOS.h"
#include "Arm_L_task.h"
#include "Moter_task.h"
#include "referee_usart_task.h"
#include "can_bsp.h"
#include "Arm_USB_task.h"
#include "bsp_led.h"

/* USER CODE END Includes */

/* USER CODE BEGIN Variables */
/* USB link to ROS2: 100 Hz STATE, PC command parsing. */
osThreadId App_Arm_USB_TaskHandle;
uint32_t App_Arm_USB_TaskBuffer[ 1024 ];
osStaticThreadDef_t App_Arm_USB_TaskControlBlock;

/* USER CODE END Variables */
/* DISABLED: INS_Task and Control_Task not needed for ARM profile */
// osThreadId Start_INS_TaskHandle;
// uint32_t Start_INS_TaskBuffer[ 2048 ];
// osStaticThreadDef_t Start_INS_TaskControlBlock;
// osThreadId Start_Control_TaskHandle;
// uint32_t Start_Control_TaskBuffer[ 2048 ];
// osStaticThreadDef_t Start_Control_TaskControlBlock;
osThreadId Start_CAN_TaskHandle;
uint32_t Start_CAN_TaskBuffer[ 2048 ];
osStaticThreadDef_t Start_CAN_TaskControlBlock;
osThreadId Start_Detect_TaskHandle;
uint32_t Start_Detect_TaskBuffer[ 2048 ];
osStaticThreadDef_t Start_Detect_TaskControlBlock;

/* APP tasks imported from S27_ARM_H7 */
osThreadId App_Arm_L_TaskHandle;
uint32_t App_Arm_L_TaskBuffer[ 2048 ];
osStaticThreadDef_t App_Arm_L_TaskControlBlock;
osThreadId App_Moter_TaskHandle;
uint32_t App_Moter_TaskBuffer[ 1024 ];
osStaticThreadDef_t App_Moter_TaskControlBlock;
osThreadId App_Referee_TaskHandle;
uint32_t App_Referee_TaskBuffer[ 1024 ];
osStaticThreadDef_t App_Referee_TaskControlBlock;
osThreadId App_RC_TaskHandle;
uint32_t App_RC_TaskBuffer[ 512 ];
osStaticThreadDef_t App_RC_TaskControlBlock;
osThreadId App_Led_TaskHandle;
uint32_t App_Led_TaskBuffer[ 512 ];
osStaticThreadDef_t App_Led_TaskControlBlock;

/* USER CODE BEGIN FunctionPrototypes */
void referee_usart_Task(void const * argument);
void LED_Task(void const * argument);

/* USER CODE END FunctionPrototypes */

/* DISABLED: INS_Task and Control_Task declarations */
// void INS_Task(void const * argument);
// void Control_Task(void const * argument);
void CAN_Task(void const * argument);
void Detect_Task(void const * argument);

extern void MX_USB_DEVICE_Init(void);
void MX_FREERTOS_Init(void); /* (MISRA C 2004 rule 8.1) */

/* GetIdleTaskMemory prototype (linked to static allocation support) */
void vApplicationGetIdleTaskMemory( StaticTask_t **ppxIdleTaskTCBBuffer, StackType_t **ppxIdleTaskStackBuffer, uint32_t *pulIdleTaskStackSize );

/* USER CODE BEGIN GET_IDLE_TASK_MEMORY */
static StaticTask_t xIdleTaskTCBBuffer;
static StackType_t xIdleStack[configMINIMAL_STACK_SIZE];

void vApplicationGetIdleTaskMemory( StaticTask_t **ppxIdleTaskTCBBuffer, StackType_t **ppxIdleTaskStackBuffer, uint32_t *pulIdleTaskStackSize )
{
  *ppxIdleTaskTCBBuffer = &xIdleTaskTCBBuffer;
  *ppxIdleTaskStackBuffer = &xIdleStack[0];
  *pulIdleTaskStackSize = configMINIMAL_STACK_SIZE;
  /* place for user code */
}
/* USER CODE END GET_IDLE_TASK_MEMORY */

void MX_FREERTOS_Init(void) {

  /* Create the thread(s) */
  /* DISABLED: INS_Task and Control_Task not needed for ARM profile */
  // /* definition and creation of Start_INS_Task */
  // osThreadStaticDef(Start_INS_Task, INS_Task, osPriorityHigh, 0, 2048, Start_INS_TaskBuffer, &Start_INS_TaskControlBlock);
  // Start_INS_TaskHandle = osThreadCreate(osThread(Start_INS_Task), NULL);

  // /* definition and creation of Start_Control_Task */
  // osThreadStaticDef(Start_Control_Task, Control_Task, osPriorityAboveNormal, 0, 2048, Start_Control_TaskBuffer, &Start_Control_TaskControlBlock);
  // Start_Control_TaskHandle = osThreadCreate(osThread(Start_Control_Task), NULL);

  /* definition and creation of Start_CAN_Task */
  osThreadStaticDef(Start_CAN_Task, CAN_Task, osPriorityHigh, 0, 2048, Start_CAN_TaskBuffer, &Start_CAN_TaskControlBlock);
  Start_CAN_TaskHandle = osThreadCreate(osThread(Start_CAN_Task), NULL);

  /* definition and creation of Start_Detect_Task */
  osThreadStaticDef(Start_Detect_Task, Detect_Task, osPriorityBelowNormal, 0, 2048, Start_Detect_TaskBuffer, &Start_Detect_TaskControlBlock);
  Start_Detect_TaskHandle = osThreadCreate(osThread(Start_Detect_Task), NULL);

  /* USER CODE BEGIN RTOS_THREADS */
  /* APP: left arm control, DM motor output and remote fallback. */
  osThreadStaticDef(App_Arm_L_Task, Arm_L_Task, osPriorityHigh, 0, 2048,
                    App_Arm_L_TaskBuffer, &App_Arm_L_TaskControlBlock);
  App_Arm_L_TaskHandle = osThreadCreate(osThread(App_Arm_L_Task), NULL);

  osThreadStaticDef(App_Moter_Task, Moter_Task, osPriorityRealtime, 0, 1024,
                    App_Moter_TaskBuffer, &App_Moter_TaskControlBlock);
  App_Moter_TaskHandle = osThreadCreate(osThread(App_Moter_Task), NULL);

  osThreadStaticDef(App_Referee_Task, referee_usart_Task, osPriorityNormal, 0, 1024,
                    App_Referee_TaskBuffer, &App_Referee_TaskControlBlock);
  App_Referee_TaskHandle = osThreadCreate(osThread(App_Referee_Task), NULL);

  osThreadStaticDef(App_RC_Task, APP_RC_Task, osPriorityBelowNormal, 0, 512,
                    App_RC_TaskBuffer, &App_RC_TaskControlBlock);
  App_RC_TaskHandle = osThreadCreate(osThread(App_RC_Task), NULL);

  /* USB link to ROS2: 100 Hz STATE, PC command parsing (never drives motors). */
  osThreadStaticDef(App_Arm_USB_Task, Arm_USB_Task, osPriorityBelowNormal, 0, 1024,
                    App_Arm_USB_TaskBuffer, &App_Arm_USB_TaskControlBlock);
  App_Arm_USB_TaskHandle = osThreadCreate(osThread(App_Arm_USB_Task), NULL);
  /* 板载 2812 LED（PA7/SPI6）：20ms 一拍呼吸灯，最低优先级，不干扰控制与通信 */
  osThreadStaticDef(App_Led_Task, LED_Task, osPriorityLow, 0, 512,
                    App_Led_TaskBuffer, &App_Led_TaskControlBlock);
  App_Led_TaskHandle = osThreadCreate(osThread(App_Led_Task), NULL);

  /* USER CODE END RTOS_THREADS */

}

/* DISABLED: INS_Task - not needed for ARM profile */
// /* USER CODE BEGIN Header_INS_Task */
// /**
//   * @brief  Function implementing the StartINS thread.
//   * @param  argument: Not used
//   * @retval None
//   */
// /* USER CODE END Header_INS_Task */
// __weak void INS_Task(void const * argument)
// {
//   /* init code for USB_DEVICE */
//   MX_USB_DEVICE_Init();
//   /* USER CODE BEGIN INS_Task */
//   /* Infinite loop */
//   for(;;)
//   {
//     osDelay(100);
//   }
//   /* USER CODE END INS_Task */
// }

/* DISABLED: Control_Task - not needed for ARM profile */
// /* USER CODE BEGIN Header_Control_Task */
// /**
// * @brief Function implementing the StartControl thread.
// * @param argument: Not used
// * @retval None
// */
// /* USER CODE END Header_Control_Task */
// __weak void Control_Task(void const * argument)
// {
//   /* USER CODE BEGIN Control_Task */
//   /* Infinite loop */
//   for(;;)
//   {
//     osDelay(100);
//   }
//   /* USER CODE END Control_Task */
// }

__weak void CAN_Task(void const * argument)
{
  /* USER CODE BEGIN CAN_Task */
  /* Infinite loop */
  for(;;)
  {
    osDelay(100);
  }
  /* USER CODE END CAN_Task */
}

__weak void Detect_Task(void const * argument)
{
  /* USER CODE BEGIN Detect_Task */
  /* Infinite loop */
  for(;;)
  {
    osDelay(100);
  }
  /* USER CODE END Detect_Task */
}

/* USER CODE BEGIN Application */
/* 板载 2812 LED 任务：彩色呼吸（亮度 1.5s 一个周期，色相 6s 绕一圈），
 * 20ms 一拍，即 50Hz 刷新；只占用一个低优先级线程，不影响控制与通信 */
void LED_Task(void const * argument)
{
  (void)argument;

  BSP_LED_SetMode(LED_MODE_BREATHE_COLOR, LED_DEFAULT_R, LED_DEFAULT_G, LED_DEFAULT_B);
  BSP_LED_SetBreathPeriod(LED_DEFAULT_PERIOD_MS);
  BSP_LED_SetColorPeriod(LED_DEFAULT_COLOR_PERIOD_MS);

  for (;;)
  {
    BSP_LED_Task();
    osDelay(LED_TASK_PERIOD_MS);
  }
}

/* USER CODE END Application */

/* No printf, allocation, or blocking I/O on a damaged task stack.
 * Inspect these retained values in the debugger after the fail-stop. */
volatile TaskHandle_t stack_overflow_task;
volatile char stack_overflow_name[configMAX_TASK_NAME_LEN];
void vApplicationStackOverflowHook(TaskHandle_t task, char *name)
{
    taskDISABLE_INTERRUPTS();
    stack_overflow_task = task;
    for (unsigned i=0; i<configMAX_TASK_NAME_LEN; ++i) {
        stack_overflow_name[i] = name ? name[i] : 0;
        if (!name || !name[i]) break;
    }
    for (;;) { __NOP(); }
}
